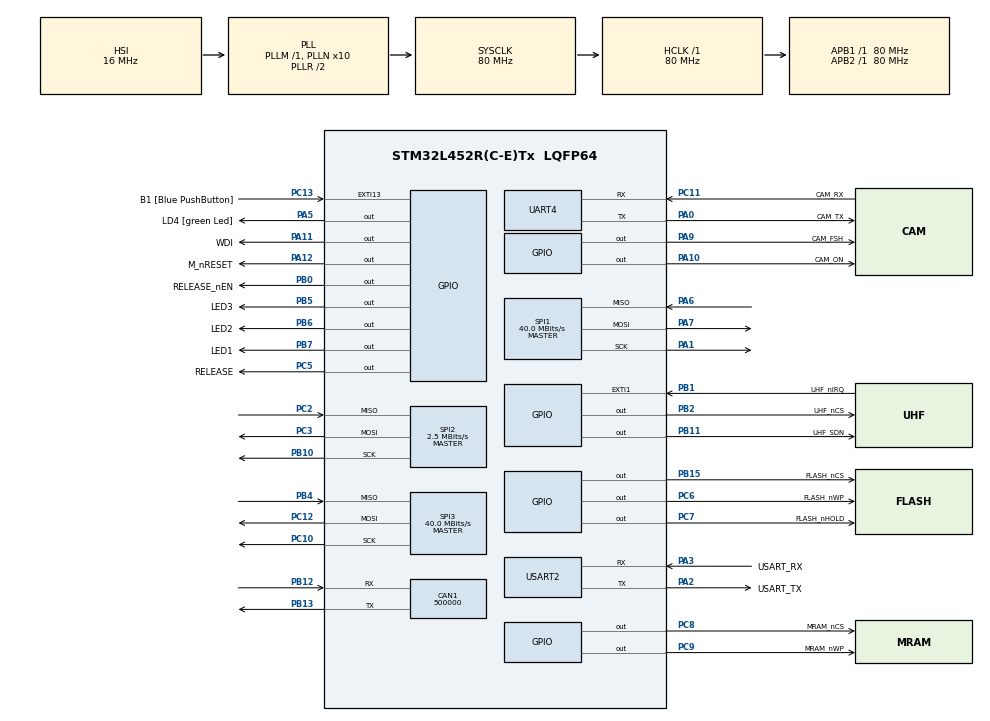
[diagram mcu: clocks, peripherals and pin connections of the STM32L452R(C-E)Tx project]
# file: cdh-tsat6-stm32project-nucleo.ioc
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CAN1.BS1=CAN_BS1_5TQ
CAN1.BS2=CAN_BS2_4TQ
CAN1.CalculateBaudRate=500000
CAN1.CalculateTimeBit=2000
CAN1.CalculateTimeQuantum=200.0
Dma.Request0=UART4_RX
Dma.UART4_RX.0.Direction=DMA_PERIPH_TO_MEMORY
Dma.UART4_RX.0.Instance=DMA2_Channel5
Dma.UART4_RX.0.MemDataAlignment=DMA_MDATAALIGN_BYTE
Dma.UART4_RX.0.MemInc=DMA_MINC_ENABLE
Dma.UART4_RX.0.Mode=DMA_NORMAL
Dma.UART4_RX.0.PeriphDataAlignment=DMA_PDATAALIGN_BYTE
Dma.UART4_RX.0.PeriphInc=DMA_PINC_DISABLE
Dma.UART4_RX.0.Priority=DMA_PRIORITY_VERY_HIGH
Mcu.Family=STM32L4
Mcu.Name=STM32L452R(C-E)Tx
Mcu.Package=LQFP64
NVIC.CAN1_RX0_IRQn=true\:0\:0\:false\:false\:true\:true\:true\:true
NVIC.DMA2_Channel5_IRQn=true\:0\:0\:false\:false\:true\:false\:true\:true
NVIC.PriorityGroup=NVIC_PRIORITYGROUP_4
NVIC.UART4_IRQn=true\:0\:0\:false\:false\:true\:true\:true\:true
PA0.GPIO_Label=CAM_TX
PA0.Mode=Asynchronous
PA0.Signal=UART4_TX
PA1.Mode=Full_Duplex_Master
PA1.Signal=SPI1_SCK
PA10.GPIO_Label=CAM_ON
PA10.Signal=GPIO_Output
PA11.GPIO_Label=WDI
PA11.Signal=GPIO_Output
PA12.GPIO_Label=M_nRESET
PA12.PinState=GPIO_PIN_SET
PA12.Signal=GPIO_Output
PA13\ (JTMS/SWDIO).GPIO_Label=TMS
PA13\ (JTMS/SWDIO).Mode=Serial_Wire
PA13\ (JTMS/SWDIO).Signal=SYS_JTMS-SWDIO
PA14\ (JTCK/SWCLK).GPIO_Label=TCK
PA14\ (JTCK/SWCLK).Mode=Serial_Wire
PA14\ (JTCK/SWCLK).Signal=SYS_JTCK-SWCLK
PA2.GPIO_Label=USART_TX
PA2.GPIO_Mode=GPIO_MODE_AF_PP
PA2.GPIO_PuPd=GPIO_NOPULL
PA2.GPIO_Speed=GPIO_SPEED_FREQ_VERY_HIGH
PA2.Mode=Asynchronous
PA2.Signal=USART2_TX
PA3.GPIO_Label=USART_RX
PA3.GPIO_Mode=GPIO_MODE_AF_PP
PA3.GPIO_PuPd=GPIO_NOPULL
PA3.GPIO_Speed=GPIO_SPEED_FREQ_VERY_HIGH
PA3.Mode=Asynchronous
PA3.Signal=USART2_RX
PA5.GPIO_Label=LD4 [green Led]
PA5.GPIO_ModeDefaultOutputPP=GPIO_MODE_OUTPUT_PP
PA5.GPIO_PuPd=GPIO_NOPULL
PA5.GPIO_Speed=GPIO_SPEED_FREQ_LOW
PA5.Signal=GPIO_Output
PA6.Mode=Full_Duplex_Master
PA6.Signal=SPI1_MISO
PA7.Mode=Full_Duplex_Master
PA7.Signal=SPI1_MOSI
PA9.GPIO_Label=CAM_FSH
PA9.Signal=GPIO_Output
PB0.GPIO_Label=RELEASE_nEN
PB0.PinState=GPIO_PIN_SET
PB0.Signal=GPIO_Output
PB1.GPIO_Label=UHF_nIRQ
PB1.Signal=GPXTI1
PB10.Mode=Full_Duplex_Master
PB10.Signal=SPI2_SCK
PB11.GPIO_Label=UHF_SDN
PB11.Signal=GPIO_Output
PB12.Mode=CAN_Activate
PB12.Signal=CAN1_RX
PB13.Mode=CAN_Activate
PB13.Signal=CAN1_TX
PB15.GPIO_Label=FLASH_nCS
PB15.PinState=GPIO_PIN_SET
PB15.Signal=GPIO_Output
PB2.GPIO_Label=UHF_nCS
PB2.PinState=GPIO_PIN_SET
PB2.Signal=GPIO_Output
PB3\ (JTDO/TRACESWO).GPIO_Label=SWO
PB3\ (JTDO/TRACESWO).Signal=SYS_JTDO-SWO
PB4\ (NJTRST).Mode=Full_Duplex_Master
PB4\ (NJTRST).Signal=SPI3_MISO
PB5.GPIO_Label=LED3
PB5.Signal=GPIO_Output
PB6.GPIO_Label=LED2
PB6.Signal=GPIO_Output
PB7.GPIO_Label=LED1
PB7.Signal=GPIO_Output
PC10.Mode=Full_Duplex_Master
PC10.Signal=SPI3_SCK
PC11.GPIO_Label=CAM_RX
PC11.Mode=Asynchronous
PC11.Signal=UART4_RX
PC12.Mode=Full_Duplex_Master
PC12.Signal=SPI3_MOSI
PC13.GPIO_Label=B1 [Blue PushButton]
PC13.GPIO_ModeDefaultEXTI=GPIO_MODE_IT_FALLING
PC13.GPIO_PuPd=GPIO_NOPULL
PC13.Signal=GPXTI13
PC14-OSC32_IN\ (PC14).Mode=LSE-External-Oscillator
PC14-OSC32_IN\ (PC14).Signal=RCC_OSC32_IN
PC15-OSC32_OUT\ (PC15).Mode=LSE-External-Oscillator
PC15-OSC32_OUT\ (PC15).Signal=RCC_OSC32_OUT
PC2.Mode=Full_Duplex_Master
PC2.Signal=SPI2_MISO
PC3.Mode=Full_Duplex_Master
PC3.Signal=SPI2_MOSI
PC5.GPIO_Label=RELEASE
PC5.Signal=GPIO_Output
PC6.GPIO_Label=FLASH_nWP
PC6.Signal=GPIO_Output
PC7.GPIO_Label=FLASH_nHOLD
PC7.PinState=GPIO_PIN_SET
PC7.Signal=GPIO_Output
PC8.GPIO_Label=MRAM_nCS
PC8.PinState=GPIO_PIN_SET
PC8.Signal=GPIO_Output
PC9.GPIO_Label=MRAM_nWP
PC9.Signal=GPIO_Output
PH0-OSC_IN\ (PH0).Signal=RCC_OSC_IN
PH1-OSC_OUT\ (PH1).Signal=RCC_OSC_OUT
ProjectManager.HeapSize=0x200
ProjectManager.StackSize=0x400
ProjectManager.TargetToolchain=STM32CubeIDE
RCC.ADCFreq_Value=64000000
RCC.AHBFreq_Value=80000000
RCC.APB1Freq_Value=80000000
RCC.APB1TimFreq_Value=80000000
RCC.APB2Freq_Value=80000000
RCC.APB2TimFreq_Value=80000000
RCC.CortexFreq_Value=80000000
RCC.HCLKFreq_Value=80000000
RCC.HSE_VALUE=8000000
RCC.HSI48_VALUE=48000000
RCC.HSI_VALUE=16000000
RCC.MSI_VALUE=4000000
RCC.PLLN=10
RCC.PLLSourceVirtual=RCC_PLLSOURCE_HSI
RCC.PREFETCH_ENABLE=1
RCC.SYSCLKFreq_VALUE=80000000
RCC.SYSCLKSource=RCC_SYSCLKSOURCE_PLLCLK
RCC.USBFreq_Value=64000000
RCC.VCOOutputFreq_Value=160000000
SPI1.CalculateBaudRate=40.0 MBits/s
SPI1.DataSize=SPI_DATASIZE_8BIT
SPI1.Direction=SPI_DIRECTION_2LINES
SPI1.Mode=SPI_MODE_MASTER
SPI1.VirtualType=VM_MASTER
SPI2.BaudRatePrescaler=SPI_BAUDRATEPRESCALER_32
SPI2.CalculateBaudRate=2.5 MBits/s
SPI2.DataSize=SPI_DATASIZE_8BIT
SPI2.Direction=SPI_DIRECTION_2LINES
SPI2.Mode=SPI_MODE_MASTER
SPI2.VirtualType=VM_MASTER
SPI3.CalculateBaudRate=40.0 MBits/s
SPI3.DataSize=SPI_DATASIZE_8BIT
SPI3.Direction=SPI_DIRECTION_2LINES
SPI3.Mode=SPI_MODE_MASTER
SPI3.VirtualType=VM_MASTER
USART2.VirtualMode-Asynchronous=VM_ASYNC
board=NUCLEO-L452RE

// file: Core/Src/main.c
/* USER CODE BEGIN Header */
/**
  ******************************************************************************
  * @file           : main.c
  * @brief          : Main program body
  ******************************************************************************
  * @attention
  *
  * Copyright (c) 2023 STMicroelectronics.
  * All rights reserved.
  *
  * This software is licensed under terms that can be found in the LICENSE file
  * in the root directory of this software component.
  * If no LICENSE file comes with this software, it is provided AS-IS.
  *
  ******************************************************************************
  */
/* USER CODE END Header */
#include "main.h"

/* USER CODE BEGIN Includes */
#include <stdio.h>
#include <stdlib.h>

#include "camera_driver.h"
#include "camera_driver_test.h"
#include "W25N_driver.h"
#include "W25N_driver_test.h"
#include "AS3001204_driver.h"
#include "AS3001204_driver_test.h"
#include "LEDs_driver.h"
#include "MAX6822_driver.h"
#include "LTC1154_driver.h"
#include "can.h"
#include "SP-L2_driver.h"
/* USER CODE END Includes */

CAN_HandleTypeDef hcan1;

SPI_HandleTypeDef hspi1;
SPI_HandleTypeDef hspi2;
SPI_HandleTypeDef hspi3;

UART_HandleTypeDef huart4;
UART_HandleTypeDef huart2;
DMA_HandleTypeDef hdma_uart4_rx;

void SystemClock_Config(void);
static void MX_GPIO_Init(void);
static void MX_DMA_Init(void);
static void MX_USART2_UART_Init(void);
static void MX_CAN1_Init(void);
static void MX_SPI1_Init(void);
static void MX_SPI2_Init(void);
static void MX_SPI3_Init(void);
static void MX_UART4_Init(void);

int main(void)
{

  /* MCU Configuration--------------------------------------------------------*/

  /* Reset of all peripherals, Initializes the Flash interface and the Systick. */
  HAL_Init();

  /* Configure the system clock */
  SystemClock_Config();

  /* Initialize all configured peripherals */
  MX_GPIO_Init();
  MX_DMA_Init();
  MX_USART2_UART_Init();
  MX_CAN1_Init();
  MX_SPI1_Init();
  MX_SPI2_Init();
  MX_SPI3_Init();
  MX_UART4_Init();
  /* USER CODE BEGIN 2 */

  //###############################################################################################
  //Peripheral Initialization
  //###############################################################################################

  //this code initializes the MAX6822
  /*MAX6822_Init();*/

  //this code initializes the LEDs
  /*LEDs_Init();*/

  //this code initializes the LTC1154
  /*LTC1154_Init();*/

  //this code initializes the CAN Bus
  /*HAL_StatusTypeDef can_operation_status;
  can_operation_status = CAN_Init();
  if (can_operation_status != HAL_OK) goto error;*/

  //this code initializes the W25N
  /*W25N_StatusTypeDef w25n_operation_status;
  w25n_operation_status = W25N_Init();
  if (w25n_operation_status != W25N_HAL_OK) goto error;*/

  //this code initializes the AS3001204
  /*HAL_StatusTypeDef as3001204_operation_status;
  as3001204_operation_status = AS3001204_Init();
  if (as3001204_operation_status != HAL_OK) goto error;*/

  //this code initializes the piCAM
  /*piCAM_StatusTypeDef piCAM_operation_status;
  piCAM_operation_status = piCAM_Init();
  if (piCAM_operation_status != piCAM_HAL_OK) goto error;*/

  //###############################################################################################
  //Peripheral Unit Tests
  //###############################################################################################

  //this code performs the W25N unit tests
  //this code should be completed after power cycling the W25N
  /*w25n_operation_status = Test_W25N();
  if (w25n_operation_status != W25N_HAL_OK) goto error;
  w25n_operation_status = W25N_Reset_And_Init();
  if (w25n_operation_status != W25N_HAL_OK) goto error;*/

  //this code performs the AS3001204 unit tests
  //this code should be completed after power cycling the AS3001204
  /*as3001204_operation_status = AS3001204_Test_MRAM_Driver();
  if (as3001204_operation_status != HAL_OK) goto error;
  as3001204_operation_status = AS3001204_Init();
  if (as3001204_operation_status != HAL_OK) goto error;*/

  //this code performs the piCAM unit test
  //NOTE: piCAM_Test_Procedure(); will NOT return a HAL_StatusTypeDef as it is a void type
  // It ONLY follows this specific sequence
  // - Follows Boot Up Sequence
  // - HAL Delay of 3000ms
  // - Sends "t\0" over UART4 for test string
  // - HAL Delay of 3000ms
  // - Sends "d\0" over UART4 for image capture request, then immediately after
  //   we start DMA for specific image data.
  /*piCAM_Test_Procedure();*/

  /* USER CODE END 2 */

  /* Infinite loop */
  /* USER CODE BEGIN WHILE */
  SpiritBaseConfiguration();
  uint8_t readyCommand = 0x62;
  uint8_t txCommand = 0x60;
  uint8_t txFIFOFlush = 0x72;
  uint8_t rxCommand = 0x61;
  uint8_t rxFlush = 0x71;
  uint8_t receivedFIFOSize = 0;
  while (1)
  {
	  uint8_t receivedFIFOSize = 0;
	  uint8_t txFIFOSize = 0;
	  uint8_t message[6] = {0}; // Test Message is "Hello!"

	  // Only Test RX or TX with this code, they use same message var.
	  /*
	   * TEST CODE FOR TX
	  message[0] = 0x48;
	  message[1] = 0x65;
	  message[2] = 0x6C;
	  message[3] = 0x6C;
	  message[4] = 0x6F;
	  message[5] = 0X21;
	  S2LP_Send_Command(readyCommand);
	  S2LP_Check_TX_FIFO_Status(&txFIFOSize);
	  S2LP_Write_TX_Fifo(6, &message);
	  S2LP_Check_TX_FIFO_Status(&txFIFOSize);
	  S2LP_Send_Command(txCommand);
	  HAL_Delay(1000);
	  S2LP_Check_TX_FIFO_Status(&txFIFOSize);
	  S2LP_Send_Command(txCommand);
	  HAL_Delay(1000);
	*/

	  /*
	   * TEST CODE FOR RX
	  S2LP_Send_Command(rxCommand);
	  // Temporary Test without IRQ seup
	  while(receivedFIFOSize == 0){
		  S2LP_Check_RX_FIFO_Status(&receivedFIFOSize);
		  HAL_Delay(3000);
	  }
	  S2LP_Read_RX_FIFO(6, &message);
	  S2LP_Send_Command(readyCommand);
	  S2LP_Send_Command(rxFlush);
	  */
    /* USER CODE END WHILE */

    /* USER CODE BEGIN 3 */
  }

error:
  exit(1);
  /* USER CODE END 3 */
}

void SystemClock_Config(void)
{
  RCC_OscInitTypeDef RCC_OscInitStruct = {0};
  RCC_ClkInitTypeDef RCC_ClkInitStruct = {0};

  /** Configure the main internal regulator output voltage
  */
  if (HAL_PWREx_ControlVoltageScaling(PWR_REGULATOR_VOLTAGE_SCALE1) != HAL_OK)
  {
    Error_Handler();
  }

  /** Initializes the RCC Oscillators according to the specified parameters
  * in the RCC_OscInitTypeDef structure.
  */
  RCC_OscInitStruct.OscillatorType = RCC_OSCILLATORTYPE_HSI;
  RCC_OscInitStruct.HSIState = RCC_HSI_ON;
  RCC_OscInitStruct.HSICalibrationValue = RCC_HSICALIBRATION_DEFAULT;
  RCC_OscInitStruct.PLL.PLLState = RCC_PLL_ON;
  RCC_OscInitStruct.PLL.PLLSource = RCC_PLLSOURCE_HSI;
  RCC_OscInitStruct.PLL.PLLM = 1;
  RCC_OscInitStruct.PLL.PLLN = 10;
  RCC_OscInitStruct.PLL.PLLP = RCC_PLLP_DIV7;
  RCC_OscInitStruct.PLL.PLLQ = RCC_PLLQ_DIV2;
  RCC_OscInitStruct.PLL.PLLR = RCC_PLLR_DIV2;
  if (HAL_RCC_OscConfig(&RCC_OscInitStruct) != HAL_OK)
  {
    Error_Handler();
  }

  /** Initializes the CPU, AHB and APB buses clocks
  */
  RCC_ClkInitStruct.ClockType = RCC_CLOCKTYPE_HCLK|RCC_CLOCKTYPE_SYSCLK
                              |RCC_CLOCKTYPE_PCLK1|RCC_CLOCKTYPE_PCLK2;
  RCC_ClkInitStruct.SYSCLKSource = RCC_SYSCLKSOURCE_PLLCLK;
  RCC_ClkInitStruct.AHBCLKDivider = RCC_SYSCLK_DIV1;
  RCC_ClkInitStruct.APB1CLKDivider = RCC_HCLK_DIV1;
  RCC_ClkInitStruct.APB2CLKDivider = RCC_HCLK_DIV1;

  if (HAL_RCC_ClockConfig(&RCC_ClkInitStruct, FLASH_LATENCY_4) != HAL_OK)
  {
    Error_Handler();
  }
}

static void MX_CAN1_Init(void)
{

  hcan1.Instance = CAN1;
  hcan1.Init.Prescaler = 16;
  hcan1.Init.Mode = CAN_MODE_NORMAL;
  hcan1.Init.SyncJumpWidth = CAN_SJW_1TQ;
  hcan1.Init.TimeSeg1 = CAN_BS1_5TQ;
  hcan1.Init.TimeSeg2 = CAN_BS2_4TQ;
  hcan1.Init.TimeTriggeredMode = DISABLE;
  hcan1.Init.AutoBusOff = DISABLE;
  hcan1.Init.AutoWakeUp = DISABLE;
  hcan1.Init.AutoRetransmission = DISABLE;
  hcan1.Init.ReceiveFifoLocked = DISABLE;
  hcan1.Init.TransmitFifoPriority = DISABLE;
  if (HAL_CAN_Init(&hcan1) != HAL_OK)
  {
    Error_Handler();
  }

}

static void MX_SPI1_Init(void)
{

  /* SPI1 parameter configuration*/
  hspi1.Instance = SPI1;
  hspi1.Init.Mode = SPI_MODE_MASTER;
  hspi1.Init.Direction = SPI_DIRECTION_2LINES;
  hspi1.Init.DataSize = SPI_DATASIZE_8BIT;
  hspi1.Init.CLKPolarity = SPI_POLARITY_LOW;
  hspi1.Init.CLKPhase = SPI_PHASE_1EDGE;
  hspi1.Init.NSS = SPI_NSS_SOFT;
  hspi1.Init.BaudRatePrescaler = SPI_BAUDRATEPRESCALER_2;
  hspi1.Init.FirstBit = SPI_FIRSTBIT_MSB;
  hspi1.Init.TIMode = SPI_TIMODE_DISABLE;
  hspi1.Init.CRCCalculation = SPI_CRCCALCULATION_DISABLE;
  hspi1.Init.CRCPolynomial = 7;
  hspi1.Init.CRCLength = SPI_CRC_LENGTH_DATASIZE;
  hspi1.Init.NSSPMode = SPI_NSS_PULSE_ENABLE;
  if (HAL_SPI_Init(&hspi1) != HAL_OK)
  {
    Error_Handler();
  }

}

static void MX_SPI2_Init(void)
{

  /* SPI2 parameter configuration*/
  hspi2.Instance = SPI2;
  hspi2.Init.Mode = SPI_MODE_MASTER;
  hspi2.Init.Direction = SPI_DIRECTION_2LINES;
  hspi2.Init.DataSize = SPI_DATASIZE_8BIT;
  hspi2.Init.CLKPolarity = SPI_POLARITY_LOW;
  hspi2.Init.CLKPhase = SPI_PHASE_1EDGE;
  hspi2.Init.NSS = SPI_NSS_SOFT;
  hspi2.Init.BaudRatePrescaler = SPI_BAUDRATEPRESCALER_32;
  hspi2.Init.FirstBit = SPI_FIRSTBIT_MSB;
  hspi2.Init.TIMode = SPI_TIMODE_DISABLE;
  hspi2.Init.CRCCalculation = SPI_CRCCALCULATION_DISABLE;
  hspi2.Init.CRCPolynomial = 7;
  hspi2.Init.CRCLength = SPI_CRC_LENGTH_DATASIZE;
  hspi2.Init.NSSPMode = SPI_NSS_PULSE_ENABLE;
  if (HAL_SPI_Init(&hspi2) != HAL_OK)
  {
    Error_Handler();
  }

}

static void MX_SPI3_Init(void)
{

  /* SPI3 parameter configuration*/
  hspi3.Instance = SPI3;
  hspi3.Init.Mode = SPI_MODE_MASTER;
  hspi3.Init.Direction = SPI_DIRECTION_2LINES;
  hspi3.Init.DataSize = SPI_DATASIZE_8BIT;
  hspi3.Init.CLKPolarity = SPI_POLARITY_LOW;
  hspi3.Init.CLKPhase = SPI_PHASE_1EDGE;
  hspi3.Init.NSS = SPI_NSS_SOFT;
  hspi3.Init.BaudRatePrescaler = SPI_BAUDRATEPRESCALER_2;
  hspi3.Init.FirstBit = SPI_FIRSTBIT_MSB;
  hspi3.Init.TIMode = SPI_TIMODE_DISABLE;
  hspi3.Init.CRCCalculation = SPI_CRCCALCULATION_DISABLE;
  hspi3.Init.CRCPolynomial = 7;
  hspi3.Init.CRCLength = SPI_CRC_LENGTH_DATASIZE;
  hspi3.Init.NSSPMode = SPI_NSS_PULSE_ENABLE;
  if (HAL_SPI_Init(&hspi3) != HAL_OK)
  {
    Error_Handler();
  }

}

static void MX_UART4_Init(void)
{

  huart4.Instance = UART4;
  huart4.Init.BaudRate = 115200;
  huart4.Init.WordLength = UART_WORDLENGTH_8B;
  huart4.Init.StopBits = UART_STOPBITS_1;
  huart4.Init.Parity = UART_PARITY_NONE;
  huart4.Init.Mode = UART_MODE_TX_RX;
  huart4.Init.HwFlowCtl = UART_HWCONTROL_NONE;
  huart4.Init.OverSampling = UART_OVERSAMPLING_16;
  huart4.Init.OneBitSampling = UART_ONE_BIT_SAMPLE_DISABLE;
  huart4.AdvancedInit.AdvFeatureInit = UART_ADVFEATURE_NO_INIT;
  if (HAL_UART_Init(&huart4) != HAL_OK)
  {
    Error_Handler();
  }

}

static void MX_USART2_UART_Init(void)
{

  huart2.Instance = USART2;
  huart2.Init.BaudRate = 115200;
  huart2.Init.WordLength = UART_WORDLENGTH_8B;
  huart2.Init.StopBits = UART_STOPBITS_1;
  huart2.Init.Parity = UART_PARITY_NONE;
  huart2.Init.Mode = UART_MODE_TX_RX;
  huart2.Init.HwFlowCtl = UART_HWCONTROL_NONE;
  huart2.Init.OverSampling = UART_OVERSAMPLING_16;
  huart2.Init.OneBitSampling = UART_ONE_BIT_SAMPLE_DISABLE;
  huart2.AdvancedInit.AdvFeatureInit = UART_ADVFEATURE_NO_INIT;
  if (HAL_UART_Init(&huart2) != HAL_OK)
  {
    Error_Handler();
  }

}

static void MX_DMA_Init(void)
{

  /* DMA controller clock enable */
  __HAL_RCC_DMA2_CLK_ENABLE();

  /* DMA interrupt init */
  /* DMA2_Channel5_IRQn interrupt configuration */
  HAL_NVIC_SetPriority(DMA2_Channel5_IRQn, 0, 0);
  HAL_NVIC_EnableIRQ(DMA2_Channel5_IRQn);

}

static void MX_GPIO_Init(void)
{
  GPIO_InitTypeDef GPIO_InitStruct = {0};

  /* GPIO Ports Clock Enable */
  __HAL_RCC_GPIOC_CLK_ENABLE();
  __HAL_RCC_GPIOH_CLK_ENABLE();
  __HAL_RCC_GPIOA_CLK_ENABLE();
  __HAL_RCC_GPIOB_CLK_ENABLE();

  /*Configure GPIO pin Output Level */
  HAL_GPIO_WritePin(GPIOA, LD4_Pin|CAM_FSH_Pin|CAM_ON_Pin|WDI_Pin, GPIO_PIN_RESET);

  /*Configure GPIO pin Output Level */
  HAL_GPIO_WritePin(GPIOC, RELEASE_Pin|FLASH_nWP_Pin|MRAM_nWP_Pin, GPIO_PIN_RESET);

  /*Configure GPIO pin Output Level */
  HAL_GPIO_WritePin(GPIOB, RELEASE_nEN_Pin|UHF_nCS_Pin|FLASH_nCS_Pin, GPIO_PIN_SET);

  /*Configure GPIO pin Output Level */
  HAL_GPIO_WritePin(GPIOB, UHF_SDN_Pin|LED3_Pin|LED2_Pin|LED1_Pin, GPIO_PIN_RESET);

  /*Configure GPIO pin Output Level */
  HAL_GPIO_WritePin(GPIOC, FLASH_nHOLD_Pin|MRAM_nCS_Pin, GPIO_PIN_SET);

  /*Configure GPIO pin Output Level */
  HAL_GPIO_WritePin(M_nRESET_GPIO_Port, M_nRESET_Pin, GPIO_PIN_SET);

  /*Configure GPIO pin : B1_Pin */
  GPIO_InitStruct.Pin = B1_Pin;
  GPIO_InitStruct.Mode = GPIO_MODE_IT_FALLING;
  GPIO_InitStruct.Pull = GPIO_NOPULL;
  HAL_GPIO_Init(B1_GPIO_Port, &GPIO_InitStruct);

  /*Configure GPIO pins : LD4_Pin CAM_FSH_Pin CAM_ON_Pin WDI_Pin
                           M_nRESET_Pin */
  GPIO_InitStruct.Pin = LD4_Pin|CAM_FSH_Pin|CAM_ON_Pin|WDI_Pin
                          |M_nRESET_Pin;
  GPIO_InitStruct.Mode = GPIO_MODE_OUTPUT_PP;
  GPIO_InitStruct.Pull = GPIO_NOPULL;
  GPIO_InitStruct.Speed = GPIO_SPEED_FREQ_LOW;
  HAL_GPIO_Init(GPIOA, &GPIO_InitStruct);

  /*Configure GPIO pins : RELEASE_Pin FLASH_nWP_Pin FLASH_nHOLD_Pin MRAM_nCS_Pin
                           MRAM_nWP_Pin */
  GPIO_InitStruct.Pin = RELEASE_Pin|FLASH_nWP_Pin|FLASH_nHOLD_Pin|MRAM_nCS_Pin
                          |MRAM_nWP_Pin;
  GPIO_InitStruct.Mode = GPIO_MODE_OUTPUT_PP;
  GPIO_InitStruct.Pull = GPIO_NOPULL;
  GPIO_InitStruct.Speed = GPIO_SPEED_FREQ_LOW;
  HAL_GPIO_Init(GPIOC, &GPIO_InitStruct);

  /*Configure GPIO pins : RELEASE_nEN_Pin UHF_nCS_Pin UHF_SDN_Pin FLASH_nCS_Pin
                           LED3_Pin LED2_Pin LED1_Pin */
  GPIO_InitStruct.Pin = RELEASE_nEN_Pin|UHF_nCS_Pin|UHF_SDN_Pin|FLASH_nCS_Pin
                          |LED3_Pin|LED2_Pin|LED1_Pin;
  GPIO_InitStruct.Mode = GPIO_MODE_OUTPUT_PP;
  GPIO_InitStruct.Pull = GPIO_NOPULL;
  GPIO_InitStruct.Speed = GPIO_SPEED_FREQ_LOW;
  HAL_GPIO_Init(GPIOB, &GPIO_InitStruct);

  /*Configure GPIO pin : UHF_nIRQ_Pin */
  GPIO_InitStruct.Pin = UHF_nIRQ_Pin;
  GPIO_InitStruct.Mode = GPIO_MODE_IT_RISING;
  GPIO_InitStruct.Pull = GPIO_NOPULL;
  HAL_GPIO_Init(UHF_nIRQ_GPIO_Port, &GPIO_InitStruct);

}

/* USER CODE BEGIN 4 */
/**
  * @brief  UART Rx message pending callback
  * @param  huart: pointer to a UART_HandleTypeDef structure that contains
  *         the configuration information for the specified UART.
  * @retval None
  */
void HAL_UART_RxCpltCallback(UART_HandleTypeDef *huart)
{
    piCAM_Receive_Check();
}

/**
  * @brief  CAN Rx Fifo 0 message pending callback
  * @param  hcan: pointer to a CAN_HandleTypeDef structure that contains
  *         the configuration information for the specified CAN.
  * @retval None
  */
void HAL_CAN_RxFifo0MsgPendingCallback(CAN_HandleTypeDef *hcan1)
{
    HAL_StatusTypeDef operation_status;
    operation_status = CAN_Message_Received();
    if (operation_status != HAL_OK)
    {
        //TODO: Implement error handling for CAN message receives
    }
}
/* USER CODE END 4 */

void Error_Handler(void)
{
  __disable_irq();
  while (1)
  {
  }
}
